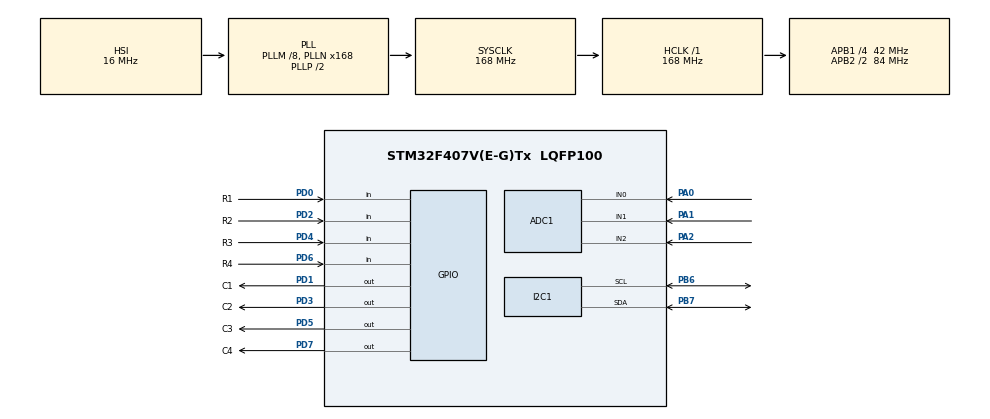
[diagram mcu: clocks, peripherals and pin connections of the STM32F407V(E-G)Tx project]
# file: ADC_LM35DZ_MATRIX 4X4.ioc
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ADC1.Channel-0\#ChannelRegularConversion=ADC_CHANNEL_0
ADC1.Channel-1\#ChannelRegularConversion=ADC_CHANNEL_TEMPSENSOR
ADC1.Channel-2\#ChannelRegularConversion=ADC_CHANNEL_VREFINT
ADC1.NbrOfConversion=3
ADC1.NbrOfConversionFlag=1
ADC1.Rank-0\#ChannelRegularConversion=1
ADC1.Rank-1\#ChannelRegularConversion=2
ADC1.Rank-2\#ChannelRegularConversion=3
ADC1.SamplingTime-0\#ChannelRegularConversion=ADC_SAMPLETIME_480CYCLES
ADC1.SamplingTime-1\#ChannelRegularConversion=ADC_SAMPLETIME_480CYCLES
ADC1.SamplingTime-2\#ChannelRegularConversion=ADC_SAMPLETIME_480CYCLES
ADC1.master=1
Mcu.Family=STM32F4
Mcu.Name=STM32F407V(E-G)Tx
Mcu.Package=LQFP100
NVIC.PriorityGroup=NVIC_PRIORITYGROUP_4
PA0-WKUP.Signal=ADCx_IN0
PA1.Signal=ADCx_IN1
PA13.Mode=Serial_Wire
PA13.Signal=SYS_JTMS-SWDIO
PA14.Mode=Serial_Wire
PA14.Signal=SYS_JTCK-SWCLK
PA2.Signal=ADCx_IN2
PB6.Mode=I2C
PB6.Signal=I2C1_SCL
PB7.Mode=I2C
PB7.Signal=I2C1_SDA
PC14-OSC32_IN.Mode=LSE-External-Oscillator
PC14-OSC32_IN.Signal=RCC_OSC32_IN
PC15-OSC32_OUT.Mode=LSE-External-Oscillator
PC15-OSC32_OUT.Signal=RCC_OSC32_OUT
PD0.GPIO_Label=R1
PD0.GPIO_PuPd=GPIO_PULLUP
PD0.Signal=GPIO_Input
PD1.GPIO_Label=C1
PD1.PinState=GPIO_PIN_SET
PD1.Signal=GPIO_Output
PD2.GPIO_Label=R2
PD2.GPIO_PuPd=GPIO_PULLUP
PD2.Signal=GPIO_Input
PD3.GPIO_Label=C2
PD3.PinState=GPIO_PIN_SET
PD3.Signal=GPIO_Output
PD4.GPIO_Label=R3
PD4.GPIO_PuPd=GPIO_PULLUP
PD4.Signal=GPIO_Input
PD5.GPIO_Label=C3
PD5.PinState=GPIO_PIN_SET
PD5.Signal=GPIO_Output
PD6.GPIO_Label=R4
PD6.GPIO_PuPd=GPIO_PULLUP
PD6.Signal=GPIO_Input
PD7.GPIO_Label=C4
PD7.PinState=GPIO_PIN_SET
PD7.Signal=GPIO_Output
PH0-OSC_IN.Mode=HSE-External-Oscillator
PH0-OSC_IN.Signal=RCC_OSC_IN
PH1-OSC_OUT.Mode=HSE-External-Oscillator
PH1-OSC_OUT.Signal=RCC_OSC_OUT
ProjectManager.HeapSize=0x200
ProjectManager.StackSize=0x400
ProjectManager.TargetToolchain=MDK-ARM V5.32
RCC.48MHZClocksFreq_Value=84000000
RCC.AHBFreq_Value=168000000
RCC.APB1CLKDivider=RCC_HCLK_DIV4
RCC.APB1Freq_Value=42000000
RCC.APB1TimFreq_Value=84000000
RCC.APB2CLKDivider=RCC_HCLK_DIV2
RCC.APB2Freq_Value=84000000
RCC.APB2TimFreq_Value=168000000
RCC.CortexFreq_Value=168000000
RCC.HCLKFreq_Value=168000000
RCC.HSE_VALUE=8000000
RCC.HSI_VALUE=16000000
RCC.PLLM=8
RCC.PLLN=168
RCC.SYSCLKFreq_VALUE=168000000
RCC.SYSCLKSource=RCC_SYSCLKSOURCE_PLLCLK
RCC.VCOOutputFreq_Value=336000000
SH.ADCx_IN0.0=ADC1_IN0,IN0
SH.ADCx_IN1.0=ADC1_IN1,IN1
SH.ADCx_IN2.0=ADC1_IN2,IN2
VP_ADC1_TempSens_Input.Mode=IN-TempSens
VP_ADC1_Vref_Input.Mode=IN-Vrefint
board=custom

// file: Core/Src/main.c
/* USER CODE BEGIN Header */
/**
  ******************************************************************************
  * @file           : main.c
  * @brief          : Main program body
  ******************************************************************************
  * @attention
  *
  * Copyright (c) 2023 STMicroelectronics.
  * All rights reserved.
  *
  * This software is licensed under terms that can be found in the LICENSE file
  * in the root directory of this software component.
  * If no LICENSE file comes with this software, it is provided AS-IS.
  *
  ******************************************************************************
  */
/* USER CODE END Header */
#include "main.h"
#include "adc.h"
#include "i2c.h"
#include "gpio.h"

/* USER CODE BEGIN Includes */
#include "i2c-lcd.h"
#include "stdio.h"
/* USER CODE END Includes */

/* USER CODE BEGIN PV */
	int row,cow =0;
	uint32_t value_adc1 = 0;// khoi tao tung bien , gan vao chanel
	uint32_t value_adc2 = 0;
	uint32_t value_adc3 = 0;
	int Vol =0 ;
	int dem=0;
	int rank1=0;
	int number;
	int number1;
	int thousands;
	int hundreds ;
	int tens ;
	int units;
	int status =100;
	char so_xxxx[4];
	int Temp;
	float V ;
	float T;

/* USER CODE END PV */

void SystemClock_Config(void);

/* USER CODE BEGIN 0 */
char keys [4][4] =
{
	{'1', '2', '3', 'A'},
	{'4', '5', '6', 'B'},
	{'7', '8', '9', 'C'},
	{'*', '0', '#', 'D'},
};
void ADC_LM35()
{
		unsigned short data_adc[16]; // regular 16 yc chuyen doi
		HAL_ADC_Start(&hadc1);// DUNG regular, DA SET UP 3 KENH , CHANEL 0>3
		HAL_ADC_PollForConversion(&hadc1,HAL_MAX_DELAY);
		for(int i =0; i< 3;i++)
		{
			dem ++;
			value_adc1 = HAL_ADC_GetValue(&hadc1);
			data_adc[i] = value_adc1;
			HAL_Delay(100);
		}
		HAL_ADC_Stop(&hadc1);// ket thuc regular

		// tinh toan gia tri nhiet do IC
			Temp= data_adc[0];
			V = ((float) Temp*3.3)/4095;
			T =V*100;
		  HAL_Delay(500);
}

void scan_key()
{

	// PHIA DUOI LA MATRIX 4X4
	char col_pin[4]={0x0002,0x0008,0x0020,0x0080};// quet cot
	char row_pin[4]={0x0001,0x0004,0x0010,0x0040};// quet hang
	// quet cot
	for (int i =0;i<4; i++)
	{

		HAL_GPIO_WritePin(GPIOD,col_pin[i],0);
		//quet hang
		for (int j=0;j<4 ;j++)
		{
			if ( HAL_GPIO_ReadPin(GPIOD,row_pin[j]) ==0)
			{

					if (keys[j][i] == '0')
					{
						status = 0;

					}

					else if (keys[j][i] == '1')
					{
						 status =1;
					}
					else if (keys[j][i] == '2')
					{
						status = 2;
					}
					else if (keys[j][i] == '3')
					{
						status = 3;
					}
				HAL_GPIO_WritePin(GPIOD,col_pin[i],1);

			}

		}
		HAL_GPIO_WritePin(GPIOD,col_pin[i],1);
	}

}
/* USER CODE END 0 */

int main(void)
{

  /* MCU Configuration--------------------------------------------------------*/

  /* Reset of all peripherals, Initializes the Flash interface and the Systick. */
  HAL_Init();

  /* Configure the system clock */
  SystemClock_Config();

  /* Initialize all configured peripherals */
  MX_GPIO_Init();
  MX_ADC1_Init();
  MX_I2C1_Init();
  /* USER CODE BEGIN 2 */
	lcd_init();
  /* USER CODE END 2 */

  /* Infinite loop */
  while (1)
  {
			ADC_LM35();
			scan_key();
			if (status ==0)
			{
				lcd_put_cur(0,0);
				lcd_send_string ("NhietDOLM:");

				char buffer [20];
				lcd_put_cur(0,10);
				sprintf (buffer,"%0.2f ", T); // 0.1 La hien thi 1 so thap phan , 0.2 la 2 so
				lcd_send_string (buffer);
				HAL_Delay(100);
			}
			if (status ==1)
			{
				lcd_put_cur(0,0);
				lcd_send_string ("ADC:");

				char buffer [20];
				lcd_put_cur(0,10);
				sprintf (buffer,"%0.2f ", Temp); // 0.1 La hien thi 1 so thap phan , 0.2 la 2 so
				lcd_send_string (buffer);
				HAL_Delay(100);
			}
  }
}

void SystemClock_Config(void)
{
  RCC_OscInitTypeDef RCC_OscInitStruct = {0};
  RCC_ClkInitTypeDef RCC_ClkInitStruct = {0};

  /** Configure the main internal regulator output voltage
  */
  __HAL_RCC_PWR_CLK_ENABLE();
  __HAL_PWR_VOLTAGESCALING_CONFIG(PWR_REGULATOR_VOLTAGE_SCALE1);

  /** Initializes the RCC Oscillators according to the specified parameters
  * in the RCC_OscInitTypeDef structure.
  */
  RCC_OscInitStruct.OscillatorType = RCC_OSCILLATORTYPE_HSI;
  RCC_OscInitStruct.HSIState = RCC_HSI_ON;
  RCC_OscInitStruct.HSICalibrationValue = RCC_HSICALIBRATION_DEFAULT;
  RCC_OscInitStruct.PLL.PLLState = RCC_PLL_ON;
  RCC_OscInitStruct.PLL.PLLSource = RCC_PLLSOURCE_HSI;
  RCC_OscInitStruct.PLL.PLLM = 8;
  RCC_OscInitStruct.PLL.PLLN = 168;
  RCC_OscInitStruct.PLL.PLLP = RCC_PLLP_DIV2;
  RCC_OscInitStruct.PLL.PLLQ = 4;
  if (HAL_RCC_OscConfig(&RCC_OscInitStruct) != HAL_OK)
  {
    Error_Handler();
  }

  /** Initializes the CPU, AHB and APB buses clocks
  */
  RCC_ClkInitStruct.ClockType = RCC_CLOCKTYPE_HCLK|RCC_CLOCKTYPE_SYSCLK
                              |RCC_CLOCKTYPE_PCLK1|RCC_CLOCKTYPE_PCLK2;
  RCC_ClkInitStruct.SYSCLKSource = RCC_SYSCLKSOURCE_PLLCLK;
  RCC_ClkInitStruct.AHBCLKDivider = RCC_SYSCLK_DIV1;
  RCC_ClkInitStruct.APB1CLKDivider = RCC_HCLK_DIV4;
  RCC_ClkInitStruct.APB2CLKDivider = RCC_HCLK_DIV2;

  if (HAL_RCC_ClockConfig(&RCC_ClkInitStruct, FLASH_LATENCY_5) != HAL_OK)
  {
    Error_Handler();
  }
}

void Error_Handler(void)
{
  __disable_irq();
  while (1)
  {
  }
}
